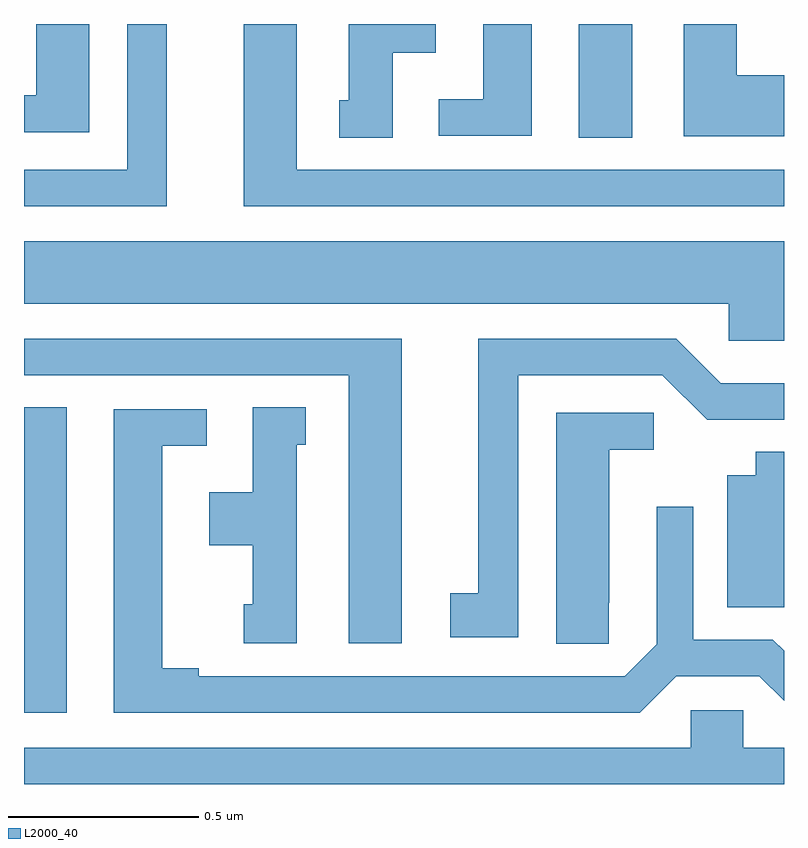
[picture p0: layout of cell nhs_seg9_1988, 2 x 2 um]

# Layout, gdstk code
import gdstk
lib = gdstk.Library(unit=1e-6, precision=1e-09)
def R(c, l, rs):  # rectangles x0, y0, x1, y1
    for r in rs: c.add(gdstk.rectangle(r[:2], r[2:], *l))
def P(c, l, *ps):  # polygons
    for p in ps: c.add(gdstk.Polygon(p, *l))
L2000_40 = (2000, 40)

nhs_seg9_1988 = lib.new_cell('nhs_seg9_1988')
R(nhs_seg9_1988, L2000_40, [(135,1184.688,135.112,1185.491), (136.46,1186.201,136.6,1186.5)])
P(nhs_seg9_1988, L2000_40, [(137,1186.365),(136.876,1186.365),(136.876,1186.5),(136.736,1186.5),(136.736,1186.205),(137,1186.205)],
  [(135.172,1186.5),(135.032,1186.5),(135.032,1186.312),(135,1186.312),(135,1186.215),(135.172,1186.215)],
  [(136.336,1186.5),(136.208,1186.5),(136.208,1186.302),(136.092,1186.302),(136.092,1186.206),(136.336,1186.206)],
  [(135.97,1186.424),(136.084,1186.424),(136.084,1186.5),(135.854,1186.5),(135.854,1186.299),(135.83,1186.299),(135.83,1186.201),(135.97,1186.201)],
  [(137,1186.116),(135.718,1186.116),(135.718,1186.5),(135.578,1186.5),(135.578,1186.02),(137,1186.02)],
  [(135.376,1186.5),(135.272,1186.5),(135.272,1186.116),(135,1186.116),(135,1186.02),(135.376,1186.02)],
  [(135,1185.764),(136.854,1185.764),(136.854,1185.666),(137,1185.666),(137,1185.928),(135,1185.928)],
  [(136.3,1185.576),(136.68,1185.576),(136.798,1185.458),(136.894,1185.458),(136.894,1185.459),(137,1185.459),(137,1185.555),(136.833,1185.555),(136.716,1185.672),(136.196,1185.672),(136.196,1185.002),(136.122,1185.002),(136.122,1184.886),(136.3,1184.886)],
  [(135.994,1185.672),(135,1185.672),(135,1185.576),(135.854,1185.576),(135.854,1184.871),(135.994,1184.871)],
  [(135.718,1185.393),(135.742,1185.393),(135.742,1185.491),(135.602,1185.491),(135.602,1185.268),(135.488,1185.268),(135.488,1185.128),(135.602,1185.128),(135.602,1184.973),(135.578,1184.973),(135.578,1184.871),(135.718,1184.871)],
  [(136.717,1184.784),(136.935,1184.784),(137,1184.719),(137,1184.851),(136.971,1184.88),(136.761,1184.88),(136.761,1185.229),(136.665,1185.229),(136.665,1184.868),(136.581,1184.784),(135.46,1184.784),(135.46,1184.804),(135.364,1184.804),(135.364,1185.39),(135.481,1185.39),(135.481,1185.486),(135.236,1185.486),(135.236,1184.688),(136.621,1184.688)],
  [(136.539,1184.977),(136.54,1184.977),(136.54,1185.38),(136.657,1185.38),(136.657,1185.477),(136.4,1185.477),(136.4,1184.869),(136.539,1184.869)],
  [(137,1185.374),(136.925,1185.374),(136.925,1185.313),(136.85,1185.313),(136.85,1184.965),(137,1184.965)],
  [(137,1184.596),(136.893,1184.596),(136.893,1184.694),(136.755,1184.694),(136.755,1184.596),(135,1184.596),(135,1184.5),(137,1184.5)])

lib.write_gds('nhs_seg9_1988.gds')
